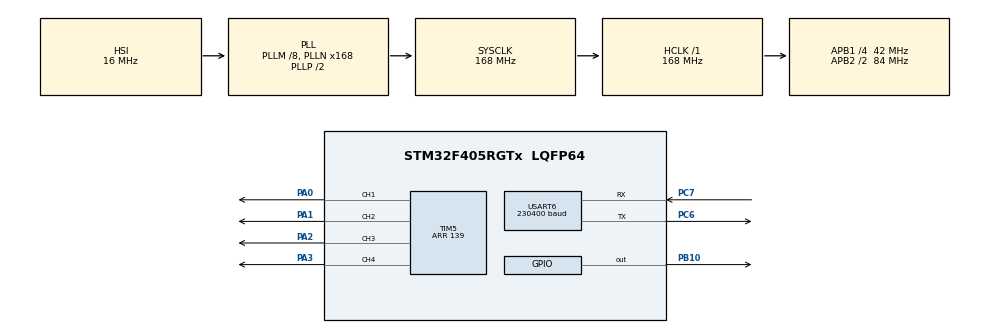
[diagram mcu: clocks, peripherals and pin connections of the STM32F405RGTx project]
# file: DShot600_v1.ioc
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Dma.Request0=TIM5_CH1
Dma.Request1=TIM5_CH2
Dma.Request2=TIM5_CH3/UP
Dma.Request3=TIM5_CH4/TRIG
Dma.TIM5_CH1.0.Direction=DMA_MEMORY_TO_PERIPH
Dma.TIM5_CH1.0.FIFOMode=DMA_FIFOMODE_DISABLE
Dma.TIM5_CH1.0.Instance=DMA1_Stream2
Dma.TIM5_CH1.0.MemDataAlignment=DMA_MDATAALIGN_WORD
Dma.TIM5_CH1.0.MemInc=DMA_MINC_ENABLE
Dma.TIM5_CH1.0.Mode=DMA_NORMAL
Dma.TIM5_CH1.0.PeriphDataAlignment=DMA_PDATAALIGN_WORD
Dma.TIM5_CH1.0.PeriphInc=DMA_PINC_DISABLE
Dma.TIM5_CH1.0.Priority=DMA_PRIORITY_HIGH
Dma.TIM5_CH2.1.Direction=DMA_MEMORY_TO_PERIPH
Dma.TIM5_CH2.1.FIFOMode=DMA_FIFOMODE_DISABLE
Dma.TIM5_CH2.1.Instance=DMA1_Stream4
Dma.TIM5_CH2.1.MemDataAlignment=DMA_MDATAALIGN_WORD
Dma.TIM5_CH2.1.MemInc=DMA_MINC_ENABLE
Dma.TIM5_CH2.1.Mode=DMA_NORMAL
Dma.TIM5_CH2.1.PeriphDataAlignment=DMA_PDATAALIGN_WORD
Dma.TIM5_CH2.1.PeriphInc=DMA_PINC_DISABLE
Dma.TIM5_CH2.1.Priority=DMA_PRIORITY_HIGH
Dma.TIM5_CH3/UP.2.Direction=DMA_MEMORY_TO_PERIPH
Dma.TIM5_CH3/UP.2.FIFOMode=DMA_FIFOMODE_DISABLE
Dma.TIM5_CH3/UP.2.Instance=DMA1_Stream0
Dma.TIM5_CH3/UP.2.MemDataAlignment=DMA_MDATAALIGN_WORD
Dma.TIM5_CH3/UP.2.MemInc=DMA_MINC_ENABLE
Dma.TIM5_CH3/UP.2.Mode=DMA_NORMAL
Dma.TIM5_CH3/UP.2.PeriphDataAlignment=DMA_PDATAALIGN_WORD
Dma.TIM5_CH3/UP.2.PeriphInc=DMA_PINC_DISABLE
Dma.TIM5_CH3/UP.2.Priority=DMA_PRIORITY_HIGH
Dma.TIM5_CH4/TRIG.3.Direction=DMA_MEMORY_TO_PERIPH
Dma.TIM5_CH4/TRIG.3.FIFOMode=DMA_FIFOMODE_DISABLE
Dma.TIM5_CH4/TRIG.3.Instance=DMA1_Stream1
Dma.TIM5_CH4/TRIG.3.MemDataAlignment=DMA_MDATAALIGN_WORD
Dma.TIM5_CH4/TRIG.3.MemInc=DMA_MINC_ENABLE
Dma.TIM5_CH4/TRIG.3.Mode=DMA_NORMAL
Dma.TIM5_CH4/TRIG.3.PeriphDataAlignment=DMA_PDATAALIGN_WORD
Dma.TIM5_CH4/TRIG.3.PeriphInc=DMA_PINC_DISABLE
Dma.TIM5_CH4/TRIG.3.Priority=DMA_PRIORITY_HIGH
Mcu.Family=STM32F4
Mcu.Name=STM32F405RGTx
Mcu.Package=LQFP64
NVIC.DMA1_Stream0_IRQn=true\:0\:0\:false\:false\:true\:false\:true\:true
NVIC.DMA1_Stream1_IRQn=true\:0\:0\:false\:false\:true\:false\:true\:true
NVIC.DMA1_Stream2_IRQn=true\:0\:0\:false\:false\:true\:false\:true\:true
NVIC.DMA1_Stream4_IRQn=true\:0\:0\:false\:false\:true\:false\:true\:true
NVIC.PriorityGroup=NVIC_PRIORITYGROUP_4
NVIC.TIM8_UP_TIM13_IRQn=true\:15\:0\:false\:false\:true\:false\:true\:true
NVIC.TimeBase=TIM8_UP_TIM13_IRQn
NVIC.TimeBaseIP=TIM13
PA0-WKUP.GPIO_Speed=GPIO_SPEED_FREQ_VERY_HIGH
PA0-WKUP.Signal=S_TIM5_CH1
PA1.Signal=S_TIM5_CH2
PA2.Signal=S_TIM5_CH3
PA3.Signal=S_TIM5_CH4
PB10.GPIO_Speed=GPIO_SPEED_FREQ_VERY_HIGH
PB10.PinState=GPIO_PIN_RESET
PB10.Signal=GPIO_Output
PC6.Mode=Asynchronous
PC6.Signal=USART6_TX
PC7.Mode=Asynchronous
PC7.Signal=USART6_RX
PH0-OSC_IN.Mode=HSE-External-Oscillator
PH0-OSC_IN.Signal=RCC_OSC_IN
PH1-OSC_OUT.Mode=HSE-External-Oscillator
PH1-OSC_OUT.Signal=RCC_OSC_OUT
ProjectManager.HeapSize=0x200
ProjectManager.StackSize=0x400
ProjectManager.TargetToolchain=STM32CubeIDE
RCC.48MHZClocksFreq_Value=84000000
RCC.AHBFreq_Value=168000000
RCC.APB1CLKDivider=RCC_HCLK_DIV4
RCC.APB1Freq_Value=42000000
RCC.APB1TimFreq_Value=84000000
RCC.APB2CLKDivider=RCC_HCLK_DIV2
RCC.APB2Freq_Value=84000000
RCC.APB2TimFreq_Value=168000000
RCC.CortexFreq_Value=168000000
RCC.HCLKFreq_Value=168000000
RCC.HSE_VALUE=12000000
RCC.HSI_VALUE=16000000
RCC.LSE_VALUE=32768
RCC.PLLM=8
RCC.PLLN=168
RCC.SYSCLKFreq_VALUE=168000000
RCC.SYSCLKSource=RCC_SYSCLKSOURCE_PLLCLK
RCC.VCOOutputFreq_Value=336000000
SH.S_TIM5_CH1.0=TIM5_CH1,PWM Generation1 CH1
SH.S_TIM5_CH2.0=TIM5_CH2,PWM Generation2 CH2
SH.S_TIM5_CH3.0=TIM5_CH3,PWM Generation3 CH3
SH.S_TIM5_CH4.0=TIM5_CH4,PWM Generation4 CH4
TIM5.Channel-PWM\ Generation1\ CH1=TIM_CHANNEL_1
TIM5.Channel-PWM\ Generation2\ CH2=TIM_CHANNEL_2
TIM5.Channel-PWM\ Generation3\ CH3=TIM_CHANNEL_3
TIM5.Channel-PWM\ Generation4\ CH4=TIM_CHANNEL_4
TIM5.OCPolarity_1=TIM_OCPOLARITY_LOW
TIM5.OCPolarity_2=TIM_OCPOLARITY_LOW
TIM5.OCPolarity_3=TIM_OCPOLARITY_LOW
TIM5.OCPolarity_4=TIM_OCPOLARITY_LOW
TIM5.Period=139
USART6.BaudRate=230400
USART6.VirtualMode=VM_ASYNC
VP_SYS_VS_tim13.Mode=TIM13
board=custom

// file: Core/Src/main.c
/* USER CODE BEGIN Header */
/**
  ******************************************************************************
  * @file           : main.c
  * @brief          : Adam's BDShot Code
  ******************************************************************************
  * @attention
  *
  * Copyright (c) 2025 STMicroelectronics.
  * All rights reserved.
  *
  * This software is licensed under terms that can be found in the LICENSE file
  * in the root directory of this software component.
  * If no LICENSE file comes with this software, it is provided AS-IS.
  *
  ******************************************************************************
  */
/* USER CODE END Header */
#include "main.h"

/* USER CODE BEGIN Includes */
#include "stdbool.h"
#include <stdio.h>
#include <string.h>
#include <stdint.h>
#include <assert.h>

/* USER CODE END Includes */

/* USER CODE BEGIN PD */
#define DSHOT_BIT_PERIOD_US 1.67f
#define DSHOT_BIT_PERIOD_TICKS 140  // 1.67 µs at 84 MHz (TIM5 clock)
#define DSHOT_T1L_TICKS 105         // Logic 1: LOW for 1.130 µs (inverted)
#define DSHOT_T0L_TICKS 50         // Logic 0: LOW for 0.600 µs (inverted)
#define DSHOT_BUFFER_SIZE 21 // 5 LOW + 16 bits + 1 LOW
#define DSHOT_TIME_GAP_US 500 //Gap between frames (adjustable)
#define DSHOT_FRAME_TIME_US (DSHOT_BIT_PERIOD_US * (16 + 2)) //26.72 us + 3.34 us = 30.06 us
#define DSHOT_TOTAL_PERIOD_US (DSHOT_FRAME_TIME_US + DSHOT_TIME_GAP_US)
#define DEBUG_MSG_MAX_LEN 64 //Max length for debug messages
#define ARMING_DURATION_US 3000000 //3s for robust ESC arming

#define THROTTLE_MINIMUM 80
#define THROTTLE_MAXIMUM 2047

// 21 bits: 1 start (always 0), 20 data bits
#define TELEMETRY_BITS 21

// This timing must match the ESC's telemetry bit width.
// For BDshot, Bluejay's default is ~2.14 us per bit (for 8kHz DShot).
#define TELEMETRY_BIT_US 1.13f  // Adjust if needed
#define TELEMETRY_TIMEOUT_US 50 // Max wait before abort (for loss of signal)
#define TELEMETRY_TIMEOUT_SPINS 500

#define POLE_PAIRS 7

#define SERIAL_QUEUE_LENGTH 10
#define SERIAL_QUEUE_ITEM_SIZE 128
/* USER CODE END PD */

TIM_HandleTypeDef htim5;
DMA_HandleTypeDef hdma_tim5_ch1;
DMA_HandleTypeDef hdma_tim5_ch2;
DMA_HandleTypeDef hdma_tim5_ch3_up;
DMA_HandleTypeDef hdma_tim5_ch4_trig;

UART_HandleTypeDef huart6;

/* USER CODE BEGIN PV */
uint8_t telemetry_buffer[2]; // Make sure it's global!

typedef struct {
    uint8_t data[SERIAL_QUEUE_ITEM_SIZE];
    size_t length;
} SerialMessage_t;

static uint32_t dshot_buffer_ch1[DSHOT_BUFFER_SIZE] __attribute__((aligned(4))); // DMA buffer for TIM5_CH1
static uint32_t dshot_buffer_ch2[DSHOT_BUFFER_SIZE] __attribute__((aligned(4))); // DMA buffer for TIM5_CH2
static uint32_t dshot_buffer_ch3[DSHOT_BUFFER_SIZE] __attribute__((aligned(4))); // DMA buffer for TIM5_CH3
static uint32_t dshot_buffer_ch4[DSHOT_BUFFER_SIZE] __attribute__((aligned(4))); // DMA buffer for TIM5_CH4
static volatile bool dshot_running_ch1 = false;       // Flag for CH1 DMA completion
static volatile bool dshot_running_ch2 = false;       // Flag for CH2 DMA completion
static volatile bool dshot_running_ch3 = false;       // Flag for CH3 DMA completion
static volatile bool dshot_running_ch4 = false;       // Flag for CH4 DMA completion
static uint32_t telemetry_M1;
static uint32_t telemetry_M2;
static uint32_t telemetry_M3;
static uint32_t telemetry_M4;
static uint16_t rpm_M1;
static uint16_t rpm_M2;
static uint16_t rpm_M3;
static uint16_t rpm_M4;

/* USER CODE END PV */

void SystemClock_Config(void);
static void MX_GPIO_Init(void);
static void MX_DMA_Init(void);
static void MX_TIM5_Init(void);
static void MX_USART6_UART_Init(void);
/* USER CODE BEGIN PFP */
void prepare_bdshot_buffer(uint16_t frame, uint32_t *dshot_buffer);
uint16_t make_bdshot_frame(uint16_t value, bool telemetry);
void queue_bdshot_pulse(uint16_t throttle, bool telemetry, uint32_t *dshot_buffer);
void send_bdshot(uint32_t channel);
void delay_task_us(uint32_t us);
void DWT_Init(void);
void delay_us_precise(double us);
uint32_t decode_gcr_mapping(uint32_t value);
int decode_gcr_20_to_16(uint32_t input_20bit, uint16_t *out_value);
int parse_edt_frame(uint16_t frame, char *type_out, float *value_out);
void set_pin_input(GPIO_TypeDef *port, uint16_t pin);
void set_pin_pwm(GPIO_TypeDef *port, uint16_t pin, uint8_t alternate);
void process_bdshot_telemetry(uint16_t pin, uint32_t telemetry, uint8_t *packet_out, uint16_t *rpm);
int receive_bdshot_telemetry(uint32_t *telemetry_out, GPIO_TypeDef *port, uint16_t pin);
void delay_ns(uint32_t ns);

/* USER CODE END PFP */

int main(void)
{

  /* MCU Configuration--------------------------------------------------------*/

  /* Reset of all peripherals, Initializes the Flash interface and the Systick. */
  HAL_Init();

  /* USER CODE BEGIN Init */
  DWT_Init();
  /* USER CODE END Init */

  /* Configure the system clock */
  SystemClock_Config();

  /* Initialize all configured peripherals */
  MX_GPIO_Init();
  MX_DMA_Init();
  MX_TIM5_Init();
  MX_USART6_UART_Init();
  /* USER CODE BEGIN 2 */

  printf("\nDShotTask Begin.\r\n");
  printf("SystemCoreClock=%lu\r\n", SystemCoreClock);
  uint32_t pclk1 = HAL_RCC_GetPCLK1Freq();
  uint32_t tim5_clk = pclk1;
  if ((RCC->CFGR & RCC_CFGR_PPRE1) != RCC_CFGR_PPRE1_DIV1)
      tim5_clk *= 2;
  printf("TIM5 actual clk: %lu\r\n", tim5_clk);

  queue_bdshot_pulse(0, true, dshot_buffer_ch1);
  queue_bdshot_pulse(0, true, dshot_buffer_ch2);
  queue_bdshot_pulse(0, true, dshot_buffer_ch3);
  queue_bdshot_pulse(0, true, dshot_buffer_ch4);
  for (int i = 0; i < 3000; i++){
  	send_bdshot(TIM_CHANNEL_1);
  	send_bdshot(TIM_CHANNEL_2);
  	send_bdshot(TIM_CHANNEL_3);
  	send_bdshot(TIM_CHANNEL_4);
  	delay_us_precise(1000);
  	}
  	delay_us_precise(50000);

  	uint8_t packet_PA0[3];
  	uint8_t packet_PA1[3];
  	uint8_t packet_PA2[3];
  	uint8_t packet_PA3[3];

  	uint8_t rx_buf[3];
  	uint16_t throttle_values[4] = {200, 95, 110, 125};

	queue_bdshot_pulse(throttle_values[0], true, dshot_buffer_ch1);
	queue_bdshot_pulse(throttle_values[1], true, dshot_buffer_ch2);
	queue_bdshot_pulse(throttle_values[2], true, dshot_buffer_ch3);
	queue_bdshot_pulse(throttle_values[3], true, dshot_buffer_ch4);

      for (int i = 0; true ; i++){
        while(dshot_running_ch1){delay_us_precise(1);}
        send_bdshot(TIM_CHANNEL_1);
        delay_us_precise(40);
        set_pin_input(GPIOA, GPIO_PIN_0);
        receive_bdshot_telemetry(&telemetry_M1, GPIOA, GPIO_PIN_0);
        set_pin_pwm(GPIOA, GPIO_PIN_0, GPIO_AF2_TIM5);

        while(dshot_running_ch2){delay_us_precise(1);}
        send_bdshot(TIM_CHANNEL_2);
        delay_us_precise(40);
        set_pin_input(GPIOA, GPIO_PIN_1);
        receive_bdshot_telemetry(&telemetry_M2, GPIOA, GPIO_PIN_1);
        set_pin_pwm(GPIOA, GPIO_PIN_1, GPIO_AF2_TIM5);

        while(dshot_running_ch3){delay_us_precise(1);}
        send_bdshot(TIM_CHANNEL_3);
        delay_us_precise(40);
        set_pin_input(GPIOA, GPIO_PIN_2);
        receive_bdshot_telemetry(&telemetry_M3, GPIOA, GPIO_PIN_2);
        set_pin_pwm(GPIOA, GPIO_PIN_2, GPIO_AF2_TIM5);

        while(dshot_running_ch4){delay_us_precise(1);}
        send_bdshot(TIM_CHANNEL_4);
        delay_us_precise(40);
        set_pin_input(GPIOA, GPIO_PIN_3);
        receive_bdshot_telemetry(&telemetry_M4, GPIOA, GPIO_PIN_3);
        set_pin_pwm(GPIOA, GPIO_PIN_3, GPIO_AF2_TIM5);

        //delay_us_precise(500);

        process_bdshot_telemetry(GPIO_PIN_0, telemetry_M1, packet_PA0, &rpm_M1);
        process_bdshot_telemetry(GPIO_PIN_1, telemetry_M2, packet_PA1, &rpm_M2);
        process_bdshot_telemetry(GPIO_PIN_2, telemetry_M3, packet_PA2, &rpm_M3);
        process_bdshot_telemetry(GPIO_PIN_3, telemetry_M4, packet_PA3, &rpm_M4);

        if (true) { //i % 100 == 0
        	//printf("M1 RPM: %d\r\n", rpm_M1);
        	//printf("M2 RPM: %d\r\n", rpm_M2);
        	//printf("M3 RPM: %d\r\n", rpm_M3);
        	//printf("M4 RPM: %d\r\n", rpm_M4);
            HAL_UART_Transmit(&huart6, packet_PA0, 3, HAL_MAX_DELAY);
            HAL_UART_Transmit(&huart6, packet_PA1, 3, HAL_MAX_DELAY);
            HAL_UART_Transmit(&huart6, packet_PA2, 3, HAL_MAX_DELAY);
            HAL_UART_Transmit(&huart6, packet_PA3, 3, HAL_MAX_DELAY);
        }

        if ((HAL_UART_Receive(&huart6, rx_buf, 3, 1) == HAL_OK)){
        	uint8_t motor_id = rx_buf[0];
        	uint16_t throttle = ((uint16_t)rx_buf[2] << 8) | rx_buf[1];

        	switch (motor_id){
				case 0xB1: throttle_values[0] = throttle; break;
				case 0xB2: throttle_values[1] = throttle; break;
				case 0xB3: throttle_values[2] = throttle; break;
				case 0xB4: throttle_values[3] = throttle; break;
        	}

		    queue_bdshot_pulse(throttle_values[0], true, dshot_buffer_ch1);
		    queue_bdshot_pulse(throttle_values[1], true, dshot_buffer_ch2);
		    queue_bdshot_pulse(throttle_values[2], true, dshot_buffer_ch3);
		    queue_bdshot_pulse(throttle_values[3], true, dshot_buffer_ch4);
        }
      }
  /* USER CODE END 2 */

  /* Infinite loop */
  while (1)
  {

  }
}

void SystemClock_Config(void)
{
  RCC_OscInitTypeDef RCC_OscInitStruct = {0};
  RCC_ClkInitTypeDef RCC_ClkInitStruct = {0};

  /** Configure the main internal regulator output voltage
  */
  __HAL_RCC_PWR_CLK_ENABLE();
  __HAL_PWR_VOLTAGESCALING_CONFIG(PWR_REGULATOR_VOLTAGE_SCALE1);

  /** Initializes the RCC Oscillators according to the specified parameters
  * in the RCC_OscInitTypeDef structure.
  */
  RCC_OscInitStruct.OscillatorType = RCC_OSCILLATORTYPE_HSI;
  RCC_OscInitStruct.HSIState = RCC_HSI_ON;
  RCC_OscInitStruct.HSICalibrationValue = RCC_HSICALIBRATION_DEFAULT;
  RCC_OscInitStruct.PLL.PLLState = RCC_PLL_ON;
  RCC_OscInitStruct.PLL.PLLSource = RCC_PLLSOURCE_HSI;
  RCC_OscInitStruct.PLL.PLLM = 8;
  RCC_OscInitStruct.PLL.PLLN = 168;
  RCC_OscInitStruct.PLL.PLLP = RCC_PLLP_DIV2;
  RCC_OscInitStruct.PLL.PLLQ = 4;
  if (HAL_RCC_OscConfig(&RCC_OscInitStruct) != HAL_OK)
  {
    Error_Handler();
  }

  /** Initializes the CPU, AHB and APB buses clocks
  */
  RCC_ClkInitStruct.ClockType = RCC_CLOCKTYPE_HCLK|RCC_CLOCKTYPE_SYSCLK
                              |RCC_CLOCKTYPE_PCLK1|RCC_CLOCKTYPE_PCLK2;
  RCC_ClkInitStruct.SYSCLKSource = RCC_SYSCLKSOURCE_PLLCLK;
  RCC_ClkInitStruct.AHBCLKDivider = RCC_SYSCLK_DIV1;
  RCC_ClkInitStruct.APB1CLKDivider = RCC_HCLK_DIV4;
  RCC_ClkInitStruct.APB2CLKDivider = RCC_HCLK_DIV2;

  if (HAL_RCC_ClockConfig(&RCC_ClkInitStruct, FLASH_LATENCY_5) != HAL_OK)
  {
    Error_Handler();
  }
}

static void MX_TIM5_Init(void)
{

  TIM_MasterConfigTypeDef sMasterConfig = {0};
  TIM_OC_InitTypeDef sConfigOC = {0};

  htim5.Instance = TIM5;
  htim5.Init.Prescaler = 0;
  htim5.Init.CounterMode = TIM_COUNTERMODE_UP;
  htim5.Init.Period = 139;
  htim5.Init.ClockDivision = TIM_CLOCKDIVISION_DIV1;
  htim5.Init.AutoReloadPreload = TIM_AUTORELOAD_PRELOAD_DISABLE;
  if (HAL_TIM_PWM_Init(&htim5) != HAL_OK)
  {
    Error_Handler();
  }
  sMasterConfig.MasterOutputTrigger = TIM_TRGO_RESET;
  sMasterConfig.MasterSlaveMode = TIM_MASTERSLAVEMODE_DISABLE;
  if (HAL_TIMEx_MasterConfigSynchronization(&htim5, &sMasterConfig) != HAL_OK)
  {
    Error_Handler();
  }
  sConfigOC.OCMode = TIM_OCMODE_PWM1;
  sConfigOC.Pulse = 0;
  sConfigOC.OCPolarity = TIM_OCPOLARITY_LOW;
  sConfigOC.OCFastMode = TIM_OCFAST_DISABLE;
  if (HAL_TIM_PWM_ConfigChannel(&htim5, &sConfigOC, TIM_CHANNEL_1) != HAL_OK)
  {
    Error_Handler();
  }
  if (HAL_TIM_PWM_ConfigChannel(&htim5, &sConfigOC, TIM_CHANNEL_2) != HAL_OK)
  {
    Error_Handler();
  }
  if (HAL_TIM_PWM_ConfigChannel(&htim5, &sConfigOC, TIM_CHANNEL_3) != HAL_OK)
  {
    Error_Handler();
  }
  if (HAL_TIM_PWM_ConfigChannel(&htim5, &sConfigOC, TIM_CHANNEL_4) != HAL_OK)
  {
    Error_Handler();
  }
  HAL_TIM_MspPostInit(&htim5);

}

static void MX_USART6_UART_Init(void)
{

  huart6.Instance = USART6;
  huart6.Init.BaudRate = 230400;
  huart6.Init.WordLength = UART_WORDLENGTH_8B;
  huart6.Init.StopBits = UART_STOPBITS_1;
  huart6.Init.Parity = UART_PARITY_NONE;
  huart6.Init.Mode = UART_MODE_TX_RX;
  huart6.Init.HwFlowCtl = UART_HWCONTROL_NONE;
  huart6.Init.OverSampling = UART_OVERSAMPLING_16;
  if (HAL_UART_Init(&huart6) != HAL_OK)
  {
    Error_Handler();
  }

}

static void MX_DMA_Init(void)
{

  /* DMA controller clock enable */
  __HAL_RCC_DMA1_CLK_ENABLE();

  /* DMA interrupt init */
  /* DMA1_Stream0_IRQn interrupt configuration */
  HAL_NVIC_SetPriority(DMA1_Stream0_IRQn, 0, 0);
  HAL_NVIC_EnableIRQ(DMA1_Stream0_IRQn);
  /* DMA1_Stream1_IRQn interrupt configuration */
  HAL_NVIC_SetPriority(DMA1_Stream1_IRQn, 0, 0);
  HAL_NVIC_EnableIRQ(DMA1_Stream1_IRQn);
  /* DMA1_Stream2_IRQn interrupt configuration */
  HAL_NVIC_SetPriority(DMA1_Stream2_IRQn, 0, 0);
  HAL_NVIC_EnableIRQ(DMA1_Stream2_IRQn);
  /* DMA1_Stream4_IRQn interrupt configuration */
  HAL_NVIC_SetPriority(DMA1_Stream4_IRQn, 0, 0);
  HAL_NVIC_EnableIRQ(DMA1_Stream4_IRQn);

}

static void MX_GPIO_Init(void)
{
  GPIO_InitTypeDef GPIO_InitStruct = {0};

  /* GPIO Ports Clock Enable */
  __HAL_RCC_GPIOH_CLK_ENABLE();
  __HAL_RCC_GPIOA_CLK_ENABLE();
  __HAL_RCC_GPIOB_CLK_ENABLE();
  __HAL_RCC_GPIOC_CLK_ENABLE();

  /*Configure GPIO pin Output Level */
  HAL_GPIO_WritePin(GPIOB, GPIO_PIN_10, GPIO_PIN_RESET);

  /*Configure GPIO pin : PB10 */
  GPIO_InitStruct.Pin = GPIO_PIN_10;
  GPIO_InitStruct.Mode = GPIO_MODE_OUTPUT_PP;
  GPIO_InitStruct.Pull = GPIO_NOPULL;
  GPIO_InitStruct.Speed = GPIO_SPEED_FREQ_VERY_HIGH;
  HAL_GPIO_Init(GPIOB, &GPIO_InitStruct);

}

/* USER CODE BEGIN 4 */
void uart_print_int(UART_HandleTypeDef *huart, int value) {
    char buf[12]; // Enough for -2147483648 + \0
    int idx = 0;

    // Handle negative numbers
    if (value < 0) {
        buf[idx++] = '-';
        value = -value;
    }

    // Convert digits to ASCII in reverse
    char temp[10];
    int temp_idx = 0;
    if (value == 0) {
        temp[temp_idx++] = '0';
    } else {
        while (value > 0 && temp_idx < sizeof(temp)) {
            temp[temp_idx++] = '0' + (value % 10);
            value /= 10;
        }
    }

    // Copy digits in correct order
    while (temp_idx > 0) {
        buf[idx++] = temp[--temp_idx];
    }

    // Send buffer via UART
    HAL_UART_Transmit(huart, (uint8_t *)buf, idx, HAL_MAX_DELAY);
}

static inline uint8_t read_telemetry_pin(GPIO_TypeDef *port, uint16_t pin)
{
    return HAL_GPIO_ReadPin(port, pin) ? 1 : 0;
}

int receive_bdshot_telemetry(uint32_t *telemetry_out, GPIO_TypeDef *port, uint16_t pin) {
    uint32_t value = 0;

    // Wait for line to go low (start bit)
    uint32_t timeout = 0;
    while (read_telemetry_pin(port, pin)) {
    	uint8_t rising_edge_detection_delay_dummy = 0;
    	rising_edge_detection_delay_dummy++;
        if (++timeout > TELEMETRY_TIMEOUT_SPINS)
            return -1; // Timeout
    }

    uint8_t initial_delay_dummy = 0;
    initial_delay_dummy++;
    initial_delay_dummy++;
    initial_delay_dummy++;
    initial_delay_dummy++;
    initial_delay_dummy++;
    initial_delay_dummy++;
    // >2 delays yields worse results. Not sure of optimal number 0 <= x <= 2

    // LSB-first: capture 20 bits
    for (int i = 0; i < 20; i++) {
    	HAL_GPIO_WritePin(GPIOB, GPIO_PIN_10, GPIO_PIN_SET);
        value |= (read_telemetry_pin(port, pin) << (19-i)); // LSB-first
        HAL_GPIO_WritePin(GPIOB, GPIO_PIN_10, GPIO_PIN_RESET);
        uint8_t telemetry_bit_delay_dummy = 0;
        telemetry_bit_delay_dummy++;
        telemetry_bit_delay_dummy++;
        //Delay functions were not precise enough -- resorted to spinning CPU with dummy variable -- found that two simple additions yields best results.
        //delay_us_precise(TELEMETRY_BIT_US);
    }

    *telemetry_out = value;
    return 0;
}

void process_bdshot_telemetry(uint16_t pin, uint32_t telemetry, uint8_t *packet_out, uint16_t *rpm) {
	uint16_t telemetry_16bit;
	char telemetry_type;
	float telemetry_value;
  	uint32_t gcr = decode_gcr_mapping(telemetry);
  	if (!decode_gcr_20_to_16(gcr, &telemetry_16bit)) {
  		//printf("Invalid GCR encoding.\r\n");
  		delay_us_precise(10);
  	}
  	else {
          int type = parse_edt_frame(telemetry_16bit, &telemetry_type, &telemetry_value);
          if (type == 2) {
          	*rpm = (uint16_t)(telemetry_value / 7.0);
          	switch (pin){
				case GPIO_PIN_0: packet_out[0] = 0xA1; break;
				case GPIO_PIN_1: packet_out[0] = 0xA2; break;
				case GPIO_PIN_2: packet_out[0] = 0xA3; break;
				case GPIO_PIN_3: packet_out[0] = 0xA4; break;
          	}
          	packet_out[1] = *rpm & 0xFF;               // LSB
          	packet_out[2] = (*rpm >> 8) & 0xFF;        // MSB
        }

          else if (type == 1) {
        	  //printf("EDT\r\n");
              //printf("EDT: %s = %d\r\n", telemetry_type, (int)telemetry_value);
          }
          else if (type == -1){
              //printf("Invalid Telemetry frame.\r\n");
          }
          else if (type == -2){
        	  //printf("Invalid CRC.\r\n");
          }
          else if (type == -3){
        	  //printf("Something went wrong.\r\n");
          }
          else {
        	  //printf("Unknown Error.\r\n");
          }
  }
}

//One cycle is ~6 ns. This is lower limit of function
void delay_ns(uint32_t ns) {
    uint32_t cycles = (SystemCoreClock / 1e9f) * ns;
    uint32_t start = DWT->CYCCNT;
    while ((DWT->CYCCNT - start) < cycles);
}
//Telemetry Input
void set_pin_input(GPIO_TypeDef *port, uint16_t pin)
{
    GPIO_InitTypeDef GPIO_InitStruct = {0};
    GPIO_InitStruct.Pin = pin;
    GPIO_InitStruct.Mode = GPIO_MODE_INPUT;
    GPIO_InitStruct.Pull = GPIO_NOPULL;
    HAL_GPIO_Init(port, &GPIO_InitStruct);
}

//DShot Generation
void set_pin_pwm(GPIO_TypeDef *port, uint16_t pin, uint8_t alternate)
{
    GPIO_InitTypeDef GPIO_InitStruct = {0};
    GPIO_InitStruct.Pin = pin;
    GPIO_InitStruct.Mode = GPIO_MODE_AF_PP;
    GPIO_InitStruct.Pull = GPIO_NOPULL;
    GPIO_InitStruct.Speed = GPIO_SPEED_FREQ_VERY_HIGH;
    GPIO_InitStruct.Alternate = alternate;
    HAL_GPIO_Init(port, &GPIO_InitStruct);
}

void prepare_bdshot_buffer(uint16_t frame, uint32_t *dshot_buffer)
{
    uint32_t buffer_index = 0;

    dshot_buffer[buffer_index++] = 0;  // preload entry
    dshot_buffer[buffer_index++] = 0;  // preload entry
    dshot_buffer[buffer_index++] = 0;  // preload entry
    dshot_buffer[buffer_index++] = 0;

    //2Build the actual DSHOT waveform entries
    for (int i = 15; i >= 0; i--)
    {
        uint8_t bit = (frame >> i) & 0x01;
        if (bit)
        {
            dshot_buffer[buffer_index++] = DSHOT_T1L_TICKS;  // logic 1
            //dshot_buffer[buffer_index++] = 0;
        }
        else
        {
            dshot_buffer[buffer_index++] = DSHOT_T0L_TICKS;  // logic 0
            //dshot_buffer[buffer_index++] = 0;
        }
    }

    dshot_buffer[buffer_index++] = 0;  // Final LOW
}

// value_12bit should be 0...4095
uint8_t bdshot_crc(uint16_t value_12bit)
{
    // Optional: Uncomment to assert 12-bit range in debug
    // assert(value_12bit < 4096);

    uint16_t crc = value_12bit ^ (value_12bit >> 4) ^ (value_12bit >> 8);
    crc = ~crc;           // Bitwise NOT
    crc = crc & 0x0F;     // Mask to 4 bits
    return (uint8_t)crc;
}

// Create 16-bit DSHOT frame with correct CRC
uint16_t make_bdshot_frame(uint16_t value, bool telemetry) {
    if (value == 0) {
        return 0x000F; // hardware expects this special frame
    }
    value &= 0x07FF; // 11 bits
    uint16_t frame_no_crc = (value << 1) | (telemetry ? 1 : 0);
    uint8_t crc = bdshot_crc(frame_no_crc);
    return (frame_no_crc << 4) | crc;
}

void queue_bdshot_pulse(uint16_t throttle, bool telemetry, uint32_t *dshot_buffer){
	uint16_t frame = make_bdshot_frame(throttle, telemetry);
	prepare_bdshot_buffer(frame, dshot_buffer);
}

void send_bdshot(uint32_t channel){
	uint32_t *buffer = NULL;
	switch(channel) {
	  case TIM_CHANNEL_1: buffer = dshot_buffer_ch1; break;
	  case TIM_CHANNEL_2: buffer = dshot_buffer_ch2; break;
	  case TIM_CHANNEL_3: buffer = dshot_buffer_ch3; break;
	  case TIM_CHANNEL_4: buffer = dshot_buffer_ch4; break;
	}
    switch (channel) {
        case TIM_CHANNEL_1: while (dshot_running_ch1) delay_us_precise(1); break;
        case TIM_CHANNEL_2: while (dshot_running_ch2) delay_us_precise(1); break;
        case TIM_CHANNEL_3: while (dshot_running_ch3) delay_us_precise(1); break;
        case TIM_CHANNEL_4: while (dshot_running_ch4) delay_us_precise(1); break;
    }
	if (buffer == NULL) Error_Handler();
    if (HAL_TIM_PWM_Start_DMA(&htim5, channel, (uint32_t*)buffer, DSHOT_BUFFER_SIZE) != HAL_OK)
    {
        Error_Handler();
        printf("Error in send_bdshot()\r\n");
    }
    switch (channel) {
        case TIM_CHANNEL_1: dshot_running_ch1 = true; break;
        case TIM_CHANNEL_2: dshot_running_ch2 = true; break;
        case TIM_CHANNEL_3: dshot_running_ch3 = true; break;
        case TIM_CHANNEL_4: dshot_running_ch4 = true; break;
    }
}

void delay_us_precise(double us) {
    uint32_t cycles = (uint32_t)(SystemCoreClock * us / 1e6f);
    uint32_t start = DWT->CYCCNT;
    while ((DWT->CYCCNT - start) < cycles);
}

void DWT_Init(void) {
    if (!(DWT->CTRL & DWT_CTRL_CYCCNTENA_Msk)) {
        CoreDebug->DEMCR |= CoreDebug_DEMCR_TRCENA_Msk;
        DWT->CYCCNT = 0;
        DWT->CTRL |= DWT_CTRL_CYCCNTENA_Msk;
    }
}

void print_binary(unsigned long value, int bits) {
    for (int i = bits - 1; i >= 0; i--) {
        putchar((value & (1UL << i)) ? '1' : '0');
    }
    printf("\r\n");
}

void HAL_TIM_PWM_PulseFinishedCallback(TIM_HandleTypeDef *htim)
{
    if (htim->Instance == TIM5) {
        __disable_irq();
        if (htim->Channel == HAL_TIM_ACTIVE_CHANNEL_1) {
            HAL_TIM_PWM_Stop(&htim5, TIM_CHANNEL_1);
            dshot_running_ch1 = false;
        }
        if (htim->Channel == HAL_TIM_ACTIVE_CHANNEL_2) {
            HAL_TIM_PWM_Stop(&htim5, TIM_CHANNEL_2);
            dshot_running_ch2 = false;
        }
        if (htim->Channel == HAL_TIM_ACTIVE_CHANNEL_3) {
            HAL_TIM_PWM_Stop(&htim5, TIM_CHANNEL_3);
            dshot_running_ch3 = false;
        }
        if (htim->Channel == HAL_TIM_ACTIVE_CHANNEL_4) {
            HAL_TIM_PWM_Stop(&htim5, TIM_CHANNEL_4);
            dshot_running_ch4 = false;
        }
        __enable_irq();
    }
}

void HAL_UART_ErrorCallback(UART_HandleTypeDef *huart)
{
    //printf("UART error callback!\r\n");
}

uint8_t calculate_crc(uint16_t value_12bit, const char *protocol) {
    if (value_12bit > 0x0FFF) return 0xFF; // invalid input

    if (protocol[0] == 'B') { // BDShot
        uint16_t value_16bit = value_12bit << 4;
        uint16_t csum = value_16bit;
        csum ^= (csum >> 8);
        csum ^= (csum >> 4);
        return (~csum) & 0xF;
    } else if (protocol[0] == 'D') { // DShot
        uint16_t value = value_12bit;
        uint8_t crc = value ^ (value >> 4) ^ (value >> 8);
        return (~crc) & 0xF;
    }

    return 0xFF; // unsupported protocol
}

/*
 * @param A value that represents a 20 bit GCR that has been mapped to 21 bits.
 * The first "starting" bit can be excluded for compatibility with a slightly cleaned 20 bit value.
 *
 * @return Returns the 20 bit GCR
 */
uint32_t decode_gcr_mapping(uint32_t value) {
    return value ^ (value >> 1);
}

/*
 * @param a 20 bit GCR
 * @param b
 *
 * @return Returns the 20 bit GCR
 *
 * Initialized the whole map to 0xFF. This way, only explicitly defined entries are accepted
 */
int decode_gcr_20_to_16(uint32_t input_20bit, uint16_t *out_value) {
    uint8_t decoding_map[32];
    for (int i = 0; i < 32; ++i) decoding_map[i] = 0xFF; // mark all invalid
    decoding_map[0x19] = 0x0; decoding_map[0x1B] = 0x1; decoding_map[0x12] = 0x2;
    decoding_map[0x13] = 0x3; decoding_map[0x1D] = 0x4; decoding_map[0x15] = 0x5;
    decoding_map[0x16] = 0x6; decoding_map[0x17] = 0x7; decoding_map[0x1A] = 0x8;
    decoding_map[0x09] = 0x9; decoding_map[0x0A] = 0xA; decoding_map[0x0B] = 0xB;
    decoding_map[0x1E] = 0xC; decoding_map[0x0D] = 0xD; decoding_map[0x0E] = 0xE;
    decoding_map[0x0F] = 0xF;

    uint16_t result = 0;

    for (int i = 0; i < 4; i++) {
        uint8_t chunk = (input_20bit >> (15 - i * 5)) & 0x1F;
        if (decoding_map[chunk] == 0xFF) return 0; // invalid chunk
        result = (result << 4) | decoding_map[chunk];
    }

    *out_value = result;
    return 1;
}

int parse_edt_frame(uint16_t frame, char *type_out, float *value_out) {
    if (frame > 0xFFFF || frame < 0){
    	return -1;
    }

    uint16_t data = (frame >> 4) & 0x0FFF;
    uint8_t crc_received = frame & 0x0F;
    uint8_t crc_calculated = calculate_crc(data, "BDShot");
    if (crc_received != crc_calculated) return -2;

    uint8_t exponent = (data >> 9) & 0x07;
    uint16_t base_period = data & 0x1FF;
    if (exponent > 12) return -3;

    uint32_t period_us = base_period << exponent;
    if (period_us == 0) return -3;

    bool is_edt = ((exponent & 1) == 0) && ((base_period & 0x100) == 0);

    if (is_edt) {
        uint8_t telemetry_type = (data >> 8) & 0xF;
        uint8_t telemetry_value = data & 0xFF;

        switch (telemetry_type) {
            case 0x04:
                *value_out = (float)(telemetry_value) / 0.25f;
                if (type_out) strcpy(type_out, "Voltage (V)");
                break;
            case 0x0E:
                if (type_out) strcpy(type_out, "Status Frame");
                *value_out = telemetry_value; // raw value, parse later if needed
                break;
            default:
                *value_out = telemetry_value;
                if (type_out) sprintf(type_out, "Unknown (0x%X)", telemetry_type);
        }

        return 1; // EDT frame
    } else {
        if (base_period == 0 || base_period == 0x1FF) {
            *value_out = 0;
        } else {
            float erpm = 60000000.0f / (float)period_us;
            *value_out = erpm;
        }

        if (type_out) strcpy(type_out, "eRPM");
        return 2; // eRPM frame
    }

    return -3;
}

int _write(int file, char *ptr, int len)
{
    HAL_UART_Transmit(&huart6, (uint8_t*)ptr, len, HAL_MAX_DELAY);
    return len;
}

/* USER CODE END 4 */

void HAL_TIM_PeriodElapsedCallback(TIM_HandleTypeDef *htim)
{
  if (htim->Instance == TIM13)
  {
    HAL_IncTick();
  }
  /* USER CODE BEGIN Callback 1 */
  //printf("PeriodElapsedCallback\r\n");
  /* USER CODE END Callback 1 */
}

void Error_Handler(void)
{
  __disable_irq();
  while (1)
  {
  }
}
